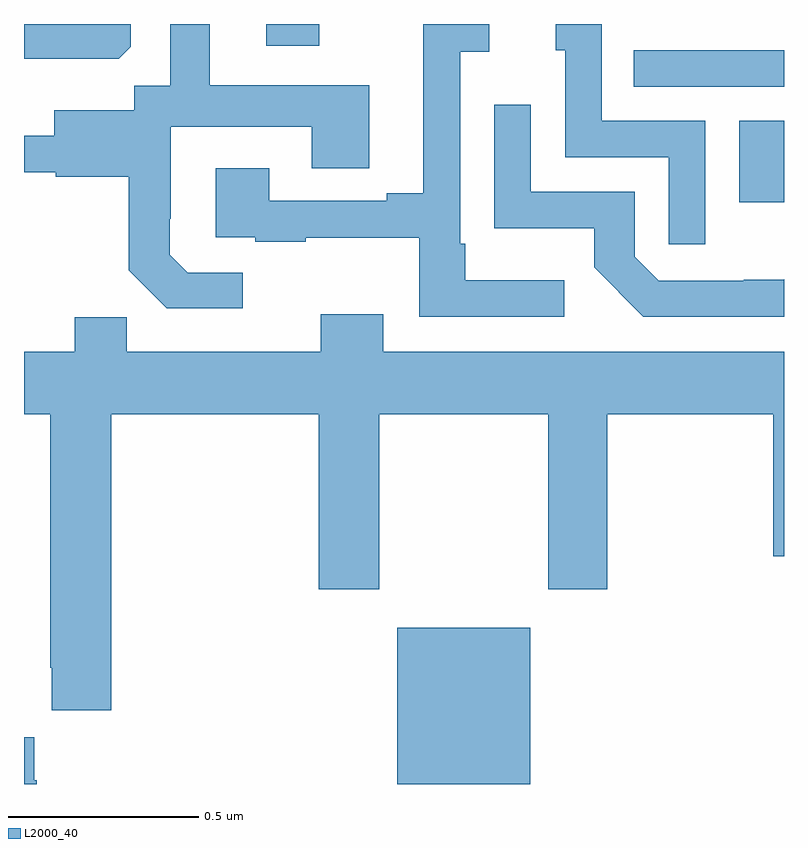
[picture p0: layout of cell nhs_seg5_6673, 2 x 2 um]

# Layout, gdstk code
import gdstk
lib = gdstk.Library(unit=1e-6, precision=1e-09)
def R(c, l, rs):  # rectangles x0, y0, x1, y1
    for r in rs: c.add(gdstk.rectangle(r[:2], r[2:], *l))
def P(c, l, *ps):  # polygons
    for p in ps: c.add(gdstk.Polygon(p, *l))
L2000_40 = (2000, 40)

nhs_seg5_6673 = lib.new_cell('nhs_seg5_6673')
R(nhs_seg5_6673, L2000_40, [(199.982,843.799,200.332,844.21), (200.882,845.33,201,845.545), (200.605,845.634,201,845.73), (199.637,845.742,199.777,845.799)])
P(nhs_seg5_6673, L2000_40, [(199.576,845.145),(199.431,845.145),(199.384,845.192),(199.384,845.287),(199.386,845.287),(199.386,845.528),(199.757,845.528),(199.757,845.419),(199.909,845.419),(199.909,845.638),(199.489,845.638),(199.489,845.799),(199.385,845.799),(199.385,845.636),(199.29,845.636),(199.29,845.572),(199.079,845.572),(199.079,845.505),(199,845.505),(199,845.409),(199.083,845.409),(199.083,845.397),(199.275,845.397),(199.275,845.151),(199.375,845.051),(199.576,845.051)],
  [(199.281,845.739),(199.281,845.799),(199,845.799),(199,845.708),(199.249,845.708)],
  [(200.793,845.544),(200.52,845.544),(200.52,845.799),(200.399,845.799),(200.399,845.73),(200.424,845.73),(200.424,845.448),(200.697,845.448),(200.697,845.22),(200.793,845.22)],
  [(200.422,845.125),(200.161,845.125),(200.161,845.221),(200.148,845.221),(200.148,845.726),(200.224,845.726),(200.224,845.799),(200.051,845.799),(200.051,845.353),(199.955,845.353),(199.955,845.334),(199.645,845.334),(199.645,845.419),(199.505,845.419),(199.505,845.238),(199.609,845.238),(199.609,845.226),(199.741,845.226),(199.741,845.237),(200.04,845.237),(200.04,845.028),(200.422,845.028)],
  [(201,845.127),(200.999,845.126),(200.894,845.126),(200.894,845.124),(200.67,845.124),(200.607,845.187),(200.607,845.358),(200.334,845.358),(200.334,845.587),(200.238,845.587),(200.238,845.261),(200.5,845.261),(200.5,845.159),(200.63,845.028),(201,845.028)],
  [(199.229,844.772),(199.775,844.772),(199.775,844.311),(199.935,844.311),(199.935,844.772),(200.38,844.772),(200.38,844.311),(200.535,844.311),(200.535,844.772),(200.972,844.772),(200.972,844.398),(201,844.398),(201,844.936),(199.945,844.936),(199.945,845.035),(199.781,845.035),(199.781,844.936),(199.271,844.936),(199.271,845.027),(199.133,845.027),(199.133,844.936),(199,844.936),(199,844.772),(199.069,844.772),(199.069,844.105),(199.073,844.105),(199.073,843.993),(199.229,843.993)],
  [(199.034,843.809),(199.027,843.809),(199.027,843.922),(199,843.922),(199,843.799),(199.034,843.799)])

lib.write_gds('nhs_seg5_6673.gds')
